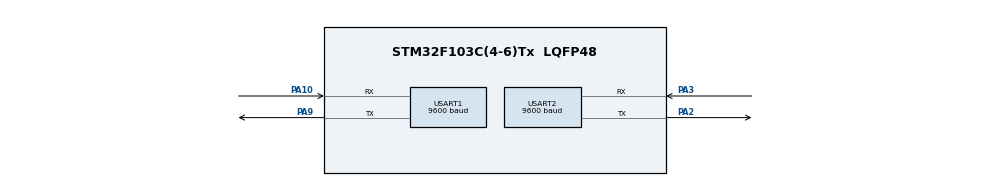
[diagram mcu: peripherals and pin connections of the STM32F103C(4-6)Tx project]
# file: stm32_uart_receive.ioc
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FREERTOS.Tasks01=defaultTask,24,128,StartDefaultTask,Default,NULL,Dynamic,NULL,NULL
Mcu.Family=STM32F1
Mcu.Name=STM32F103C(4-6)Tx
Mcu.Package=LQFP48
NVIC.PriorityGroup=NVIC_PRIORITYGROUP_4
NVIC.TIM1_UP_IRQn=true\:15\:0\:false\:false\:true\:false\:false\:true\:true
NVIC.TimeBase=TIM1_UP_IRQn
NVIC.TimeBaseIP=TIM1
PA10.Mode=Asynchronous
PA10.Signal=USART1_RX
PA2.Mode=Asynchronous
PA2.Signal=USART2_TX
PA3.Mode=Asynchronous
PA3.Signal=USART2_RX
PA9.Mode=Asynchronous
PA9.Signal=USART1_TX
ProjectManager.HeapSize=0x200
ProjectManager.StackSize=0x400
ProjectManager.TargetToolchain=Makefile
RCC.APB1Freq_Value=8000000
RCC.APB2Freq_Value=8000000
USART1.BaudRate=9600
USART1.VirtualMode=VM_ASYNC
USART2.BaudRate=9600
USART2.VirtualMode=VM_ASYNC
VP_FREERTOS_VS_CMSIS_V2.Mode=CMSIS_V2
VP_SYS_VS_ND.Mode=No_Debug
VP_SYS_VS_tim1.Mode=TIM1
board=custom

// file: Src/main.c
/* USER CODE BEGIN Header */
/**
  ******************************************************************************
  * @file           : main.c
  * @brief          : Main program body
  ******************************************************************************
  * @attention
  *
  * Copyright (c) 2023 STMicroelectronics.
  * All rights reserved.
  *
  * This software is licensed under terms that can be found in the LICENSE file
  * in the root directory of this software component.
  * If no LICENSE file comes with this software, it is provided AS-IS.
  *
  ******************************************************************************
  */
/* USER CODE END Header */
#include "main.h"
#include "cmsis_os.h"
#include "usart.h"
#include "gpio.h"

void SystemClock_Config(void);
void MX_FREERTOS_Init(void);

int main(void)
{

  /* MCU Configuration--------------------------------------------------------*/

  /* Reset of all peripherals, Initializes the Flash interface and the Systick. */
  HAL_Init();

  /* Configure the system clock */
  SystemClock_Config();

  /* Initialize all configured peripherals */
  MX_GPIO_Init();
  MX_USART1_UART_Init();
  MX_USART2_UART_Init();

  /* Init scheduler */
  osKernelInitialize();  /* Call init function for freertos objects (in freertos.c) */
  MX_FREERTOS_Init();

  /* Start scheduler */
  osKernelStart();

  /* We should never get here as control is now taken by the scheduler */
  /* Infinite loop */
  while (1)
  {

  }
}

void SystemClock_Config(void)
{
  RCC_OscInitTypeDef RCC_OscInitStruct = {0};
  RCC_ClkInitTypeDef RCC_ClkInitStruct = {0};

  /** Initializes the RCC Oscillators according to the specified parameters
  * in the RCC_OscInitTypeDef structure.
  */
  RCC_OscInitStruct.OscillatorType = RCC_OSCILLATORTYPE_HSI;
  RCC_OscInitStruct.HSIState = RCC_HSI_ON;
  RCC_OscInitStruct.HSICalibrationValue = RCC_HSICALIBRATION_DEFAULT;
  RCC_OscInitStruct.PLL.PLLState = RCC_PLL_NONE;
  if (HAL_RCC_OscConfig(&RCC_OscInitStruct) != HAL_OK)
  {
    Error_Handler();
  }

  /** Initializes the CPU, AHB and APB buses clocks
  */
  RCC_ClkInitStruct.ClockType = RCC_CLOCKTYPE_HCLK|RCC_CLOCKTYPE_SYSCLK
                              |RCC_CLOCKTYPE_PCLK1|RCC_CLOCKTYPE_PCLK2;
  RCC_ClkInitStruct.SYSCLKSource = RCC_SYSCLKSOURCE_HSI;
  RCC_ClkInitStruct.AHBCLKDivider = RCC_SYSCLK_DIV1;
  RCC_ClkInitStruct.APB1CLKDivider = RCC_HCLK_DIV1;
  RCC_ClkInitStruct.APB2CLKDivider = RCC_HCLK_DIV1;

  if (HAL_RCC_ClockConfig(&RCC_ClkInitStruct, FLASH_LATENCY_0) != HAL_OK)
  {
    Error_Handler();
  }
}

void HAL_TIM_PeriodElapsedCallback(TIM_HandleTypeDef *htim)
{
  if (htim->Instance == TIM1) {
    HAL_IncTick();
  }
}

void Error_Handler(void)
{
  __disable_irq();
  while (1)
  {
  }
}

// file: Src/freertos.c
/* USER CODE BEGIN Header */
/**
 ******************************************************************************
 * File Name          : freertos.c
 * Description        : Code for freertos applications
 ******************************************************************************
 * @attention
 *
 * Copyright (c) 2023 STMicroelectronics.
 * All rights reserved.
 *
 * This software is licensed under terms that can be found in the LICENSE file
 * in the root directory of this software component.
 * If no LICENSE file comes with this software, it is provided AS-IS.
 *
 ******************************************************************************
 */
/* USER CODE END Header */

#include "FreeRTOS.h"
#include "task.h"
#include "main.h"
#include "cmsis_os.h"

/* USER CODE BEGIN Includes */
#include <string.h>
#include "usart.h"
/* USER CODE END Includes */

/* USER CODE BEGIN Variables */
char Sim_response[500] = {0};
char Sim_Rxdata[2] = {0};
int8_t sendStatus;
char dataSend[] = "{\"msgType\": \"Logging\",\"data\": {\"LOG\": \"ESP TEST\"}}";
/* USER CODE END Variables */
/* Definitions for defaultTask */
osThreadId_t defaultTaskHandle;
const osThreadAttr_t defaultTask_attributes = {
    .name = "defaultTask",
    .stack_size = 128 * 4,
    .priority = (osPriority_t)osPriorityNormal,
};

/* USER CODE BEGIN FunctionPrototypes */
void display(void *data)
{
  HAL_UART_Transmit(&huart2, (uint8_t *)data, (uint16_t)strlen(data), 1000);
}
void deleteBuffer(char *buf)
{
  int len = strlen(buf);
  for (int i = 0; i < len; i++)
  {
    buf[i] = 0;
  }
}
int8_t Sim_sendCommand(char *command, char *response, uint32_t timeout)
{
  uint8_t answer = 0, count = 0;
  deleteBuffer(Sim_response);
  uint32_t time = HAL_GetTick();
  uint32_t time1 = HAL_GetTick();
  HAL_UART_Transmit(&huart1, (uint8_t *)command, (uint16_t)strlen(command), 1000);
  HAL_UART_Transmit(&huart1, (uint8_t *)"\r\n", (uint16_t)strlen("\r\n"), 1000);
  do
  {
    while (HAL_UART_Receive(&huart1, (uint8_t *)Sim_Rxdata, 1, 1000) != HAL_OK)
    {
      if (HAL_GetTick() - time > timeout)
      {
        return 0;
      }
    }
    time = HAL_GetTick();
    Sim_response[count++] = Sim_Rxdata[0];
    while ((HAL_GetTick() - time < timeout))
    {
      if (HAL_UART_Receive(&huart1, (uint8_t *)Sim_Rxdata, 1, 1000) == HAL_OK)
      {
        Sim_response[count++] = Sim_Rxdata[0];
        time1 = HAL_GetTick();
      }
      else
      {
        if (HAL_GetTick() - time1 > 100)
        {
          if (strstr(Sim_response, response) != NULL)
          {
            answer = 1;
          }
          else
          {
            answer = 0;
          }
          break;
        }
      }
    }
  } while (answer == 0);
  display(Sim_response);
  return answer;
}
/* USER CODE END FunctionPrototypes */

void StartDefaultTask(void *argument);

void MX_FREERTOS_Init(void); /* (MISRA C 2004 rule 8.1) */

void MX_FREERTOS_Init(void)
{

  /* Create the thread(s) */
  /* creation of defaultTask */
  defaultTaskHandle = osThreadNew(StartDefaultTask, NULL, &defaultTask_attributes);

}

void StartDefaultTask(void *argument)
{
  /* USER CODE BEGIN StartDefaultTask */
  /* Infinite loop */
  for (;;)
  {
    if (Sim_sendCommand("AT", "OK", 5000))
    {
      osDelay(10);
      if (Sim_sendCommand("AT+CGMR", "OK", 5000))
      {
        osDelay(10);
        if (Sim_sendCommand("AT+CGSN", "OK", 5000))
        {
          osDelay(10);
          if (Sim_sendCommand("AT+ICCID", "OK", 5000))
          {
            osDelay(10);
            if (Sim_sendCommand("AT+CENG?", "OK", 5000))
            {
              osDelay(10);
              if (Sim_sendCommand("AT+CSOC=1,2,1", "OK", 5000))
              {
                osDelay(10);
                if (Sim_sendCommand("AT+CSOCON=0,20004,\"115.78.92.253\"", "OK", 5000))
                {
                  osDelay(10);
                  if (Sim_sendCommand("AT+CSOSTATUS=0", "OK", 5000))
                  {
                    osDelay(10);
                    if (Sim_sendCommand("AT+CSOSEND=0,2,\"aa\"", "+CSONMI", 5000))
                    {
                      osDelay(10);
                      if (Sim_sendCommand("AT+CSOCL=0", "OK", 5000))
                      {
                        osDelay(10);
                      }
                    }
                  }
                }
              }
            }
          }
        }
      }
    }
    osDelay(30000);
  }
  /* USER CODE END StartDefaultTask */
}
